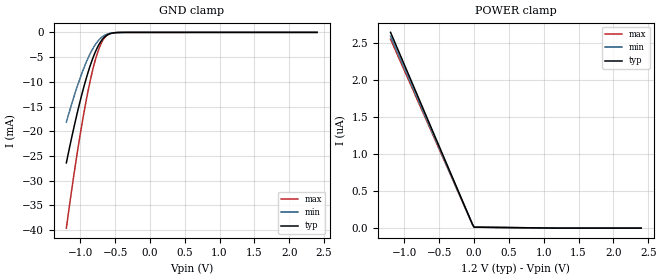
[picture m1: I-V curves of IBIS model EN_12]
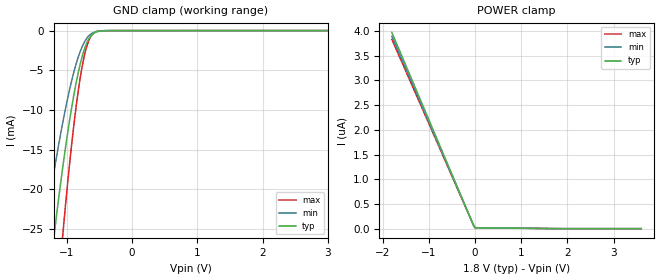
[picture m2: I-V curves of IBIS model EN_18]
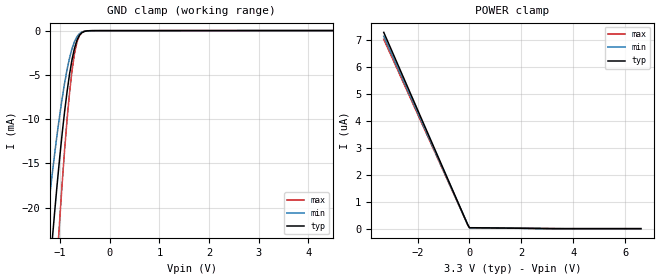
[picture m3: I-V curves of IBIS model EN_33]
| Texas Instruments Incorporated
| HDMI Companion Chip with Step-up converter, I2C Level Shifter, and
|High speed ESD clamps
| Marketing part#   Voltage Range   Package-type   #pins/pkg drawing
| TPD12S015AYFF   1.65V-5.5V   YFF   28-ball YFF
[IBIS Ver]   4.0
[File name]   tpd12s015a.ibs
[File Rev]   1.0
[Date]   06/27/2011
[Source]   TIspiceD simulations
   Texas Instruments Incorporated.
   Analog eLab Design Center, HPA
   12500 TI Blvd
   Dallas, TX -75243
   For Support e-mail: elab_scm_ibis@list.ti.com
[Notes]   Revision History:
   Rev 1.0: 06/27/2011
   - C_comp although listed in numerical order of value are
   obtained from varying PVT conditions.
   For PVT conditions for each specific value, refer to the
   buffer description under respective [Model].
   IBIS model user is responsible for using appropriate
   C_comp to simulate for Signal Integrity.
   - IBIS model not matched to TISPICED simulations
   - non-monotonic behavior in power clamp and combined pullup/down
   waveforms is per simulations
   - internal weak pullup to 10kOhms is part of the characterisitcs
[Disclaimer] This model is designed as an aid for customers of Texas Instruments.
 TI and its licensors and suppliers make no warranties, either expressed
 or implied, with respect to this  model, including the warranties of
 merchantability or fitness for a particular purpose.
 The model is provided solely on an "as is" basis. The entire risk as to
 its quality and performance is with the customer.
[Copyright] (C)Copyright 2011 Texas Instruments Incorporated.
   All rights reserved.
|   Component TPD12S015AYFF
[Component]   TPD12S015AYFF
[Manufacturer]  Texas Instruments Incorporated
[Package]   |28-ball YFF
|   typ   min   max
R_pkg   0.027   0.004   0.179
L_pkg   0.396nH   0.173nH   0.986nH
C_pkg   0.668pF   0.52pF   0.986pF
[Pin]   signal_name   model_name   R_pin   L_pin   C_pin
A1   LS_OE   EN   0.005   0.204nH   0.579pF
A2   VCCA   POWER   0.004   0.199nH   0.602pF
A3   D2P   HDMI   0.005   0.203nH   0.571pF
A4   D2N   HDMI   0.005   0.216nH   0.627pF
B1   SCLA   DDCA   0.005   0.192nH   0.544pF
B2   CECA   CECA   0.005   0.186nH   0.533pF
B3   GND   GND   0.005   0.205nH   0.573pF
B4   D1P   HDMI   0.006   0.23nH   0.602pF
C1   SDAA   DDCA   0.006   0.22nH   0.605pF
C2   HPDA   HPDA   0.006   0.226nH   0.608pF
C3   GND   GND   0.006   0.227nH   0.608pF
C4   D1N   HDMI   0.009   0.232nH   0.565pF
D1   CT_CP_HPD   EN   0.015   0.329nH   0.644pF
D2   GND   GND   0.005   0.192nH   0.537pF
D3   CECB   CECB_5  0.043   0.599nH   0.812pF
D4   D0P   HDMI   0.054   0.678nH   0.867pF
E1   FB   NC   0.054   0.564nH   0.669pF
E2   GND   GND   0.053   0.794nH   0.927pF
E3   SCLB   DDCB_5  0.025   0.566nH   0.934pF
E4   D0N   HDMI   0.031   0.547nH   0.806pF
F1   5VOUT   NC   0.004   0.173nH   0.52pF
F2   SW   NC   0.005   0.236nH   0.652pF
F3   SDAB   DDCB_5  0.179   1.455nH   0.986pF
F4   CLKP   HDMI   0.102   0.856nH   0.741pF
G1   PGND   GND   0.031   0.634nH   0.951pF
G2   VBAT   POWER   0.006   0.235nH   0.633pF
G3   HPDB   HPDB_5  0.006   0.231nH   0.639pF
G4   CLKN   HDMI   0.004   0.178nH   0.525pF
[Diff_pin]   inv_pin   vdiff   tdelay_typ   tdelay_min   tdelay_max
|Vidff not present in datasheet
|Vdiff is not applicable as these are just ESD diff pins
|hence NA for vdiff
A3   A4   NA   0 0 0
B4   C4   NA   0 0 0
D4   E4   NA   0 0 0
F4   G4   NA   0 0 0
[Pin Mapping] pulldown_ref pullup_ref gnd_clamp_ref power_clamp_ref |ext_ref
A1   NC   NC   gndbus   vccabus
A2   NC   vccabus
A3   NC   NC   gndbus   vccabus
A4   NC   NC   gndbus   vccabus
B1   gndbus   NC   gndbus   vccabus
B2   gndbus   NC   gndbus   vccabus
B3   gndbus   NC
B4   NC   NC   gndbus   vccabus
C1   gndbus   NC   gndbus   vccabus
C2   gndbus   NC   gndbus   vccabus
C3   gndbus   NC
C4   NC   NC   gndbus   vccabus
D1   NC   NC   gndbus   vccabus
D2   gndbus   NC
D3   gndbus   NC   gndbus   vccabus
D4   NC   NC   gndbus   vccabus
E1   NC   NC
E2   gndbus   NC
E3   gndbus   NC   gndbus   vccbbus
E4   NC   NC   gndbus   vccabus
F1   NC   NC
F2   NC   NC
F3   gndbus   NC   gndbus   vccbbus
F4   NC   NC   gndbus   vccabus
G1   gndbus   NC
G2   NC   vccbbus
G3   NC   NC   gndbus   vccbbus
G4   NC   NC   gndbus   vccabus
[Model Selector] HPDA
HPDA_12 1.2V supply
HPDA_18 1.8V supply
HPDA_33 3.3V supply
[Model Selector] EN
EN_12 1.2V supply
EN_18 1.8V supply
EN_33 3.3V supply
[Model Selector] DDCA
DDCA_12 1.2V supply
DDCA_18 1.8V supply
DDCA_33 3.3V supply
[Model Selector] CECA
CECA_12 1.2V supply
CECA_18 1.8V supply
CECA_33 3.3V supply
[Model Selector] HDMI
HDMI_12   1.2V supply
HDMI_18   1.8V supply
HDMI_33   3.3V supply
| Models and submodels in the file (18): EN_12 (Input), EN_18 (Input), EN_33 (Input), HPDA_33 (I/O), HPDA_18 (I/O), HPDA_12 (I/O), CECA_12 (I/O_open_sink), CECA_18 (I/O_open_sink), CECA_33 (I/O_open_sink), HDMI_12 (Input), HDMI_18 (Input), HDMI_33 (Input), DDCA_33 (I/O_open_sink), DDCA_12 (I/O_open_sink), DDCA_18 (I/O_open_sink), HPDB_5 (Input), DDCB_5 (I/O_open_sink), CECB_5 (I/O_open_sink)
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[Model]   EN_12
Model_type   Input
Vinl = 0.4V
Vinh = 1.0V
|   typ   min   max
C_comp   0.9916pF   0.9796pF   1.0277pF
[Voltage Range]   1.200V   1.100V   1.300V
|Junction temperature
[Temperature Range]   40.0   100.0   -40.0
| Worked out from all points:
|   GND clamp passes 1 mA (typ) near -0.66 V on its own axis
|ambient temperature   25   85   -40
[GND Clamp]
|   Voltage   I(typ)   I(min)   I(max)
-1.2V     -26.38mA   -18.14mA   -39.58mA
-1.11V    -20.37mA   -13.83mA   -30.52mA
-1.019V   -14.87mA   -9.926mA   -22.2mA
-946.7mV  -10.92mA   -7.157mA   -16.19mA
-874.4mV  -7.452mA   -4.777mA   -10.89mA
-802mV    -4.572mA   -2.864mA   -6.499mA
-747.7mV  -2.872mA   -1.777mA   -3.918mA
-693.5mV  -1.614mA   -999.3uA   -2.04mA
-621.1mV  -607.8uA   -390.4uA   -637uA
-548.7mV  -180.5uA   -128.7uA   -143.8uA
-422.1mV  -15.52uA   -15.34uA   -7.207uA
2.4V      2.662uA    2.374uA    2.761uA
[POWER Clamp]
|   Voltage   I(typ)   I(min)   I(max)
-1.2V     2.648uA    2.596uA    2.556uA
-24.12mV  53.23nA    52.17nA    51.37nA
0V        12.9nA     11.8nA     11.96nA
2.4V      0A         0A         0A
[Model]   EN_18
Model_type   Input
Vinl = 0.4V
Vinh = 1.0V
|   typ   min   max
C_comp   0.9536pF   0.9386pF   0.9995pF
[Voltage Range]   1.800V   1.650V   1.950V
|Junction temperature
[Temperature Range]   40.0   100.0   -40.0
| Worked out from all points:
|   GND clamp passes 1 mA (typ) near -0.66 V on its own axis
|ambient temperature   25   85   -40
[GND Clamp]
|   Voltage   I(typ)   I(min)   I(max)
-1.8V     -74.61mA   -53.05mA   -110.3mA
-1.339V   -36.42mA   -25.35mA   -54.56mA
-1.176V   -24.73mA   -16.95mA   -37.1mA
-1.067V   -17.73mA   -11.95mA   -26.54mA
-1.04V    -16.1mA    -10.8mA    -24.07mA
-931.7mV  -10.15mA   -6.627mA   -15.02mA
-850.3mV  -6.421mA   -4.083mA   -9.318mA
-796mV    -4.362mA   -2.728mA   -6.18mA
-714.6mV  -2.049mA   -1.266mA   -2.683mA
-606mV    -480.5uA   -313.4uA   -478.2uA
-416.1mV  -13.74uA   -13.82uA   -6.241uA
3.6V      3.992uA    3.561uA    4.142uA
[POWER Clamp]
|   Voltage   I(typ)   I(min)   I(max)
-1.8V     3.972uA    3.893uA    3.834uA
-36.18mV  79.84nA    78.26nA    77.06nA
0V        18.86nA    17.55nA    17.34nA
3.6V      0A         0A         0A
[Model]   EN_33
Model_type   Input
Vinl = 0.4V
Vinh = 1.0V
|   typ   min   max
C_comp   0.9070pF   0.8804pF   0.9723pF
[Voltage Range]   3.300V   3.000V   3.600V
|Junction temperature
[Temperature Range]   40.0   100.0   -40.0
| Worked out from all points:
|   GND clamp passes 1 mA (typ) near -0.65 V on its own axis
|ambient temperature   25   85   -40||
[GND Clamp]
|   Voltage   I(typ)   I(min)   I(max)
-3.3V     -1.126A    -863.3mA   -1.505A
-1.31V    -34.28mA   -23.81mA   -51.37mA
-1.26V    -30.64mA   -21.19mA   -45.95mA
-1.161V   -23.72mA   -16.23mA   -35.58mA
-1.111V   -20.46mA   -13.9mA    -30.67mA
-1.061V   -17.36mA   -11.69mA   -25.98mA
-1.012V   -14.44mA   -9.621mA   -21.54mA
-862.3mV  -6.928mA   -4.423mA   -10.09mA
-762.8mV  -3.301mA   -2.048mA   -4.568mA
-663.3mV  -1.107mA   -692uA     -1.312mA
-563.8mV  -236.3uA   -163.8uA   -200.2uA
6.6V      7.319uA    6.529uA    7.699uA
[POWER Clamp]
|   Voltage   I(typ)   I(min)   I(max)
-3.3V     7.283uA    7.14uA     7.028uA
-66.33mV  146.4nA    143.5nA    141.3nA
0V        34.24nA    33.68nA    33.3nA
6.6V      0A         0A         0A
